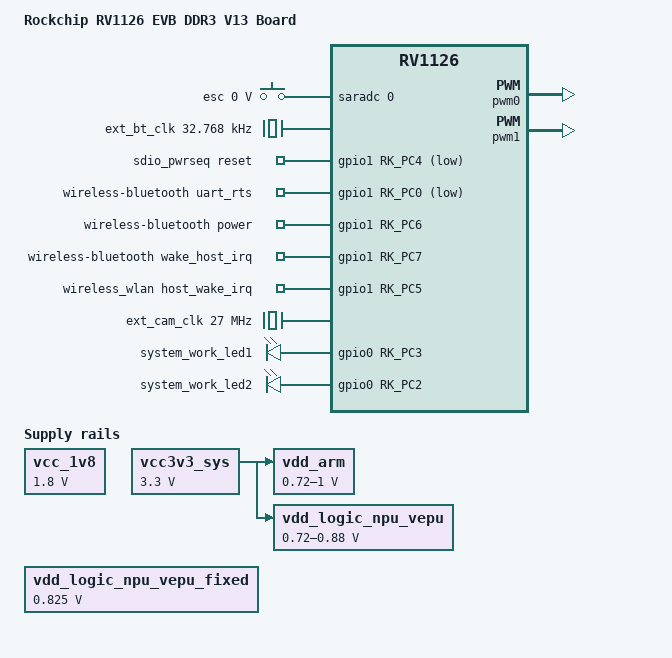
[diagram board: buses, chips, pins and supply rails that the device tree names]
// SPDX-License-Identifier: (GPL-2.0+ OR MIT)
/*
 * Copyright (c) 2020 Rockchip Electronics Co., Ltd.
 */
/dts-v1/;
#include "rv1126.dtsi"
#include "rv1126-ToyT-v13.dtsi"
/ {
	model = "Rockchip RV1126 EVB DDR3 V13 Board";
	compatible = "rockchip,rv1126-toybrick-ToyT01", "rockchip,rv1126";

	chosen {
		bootargs = "earlycon=uart8250,mmio32,0xff570000 console=ttyFIQ0 root=PARTUUID=614e0000-0000 rootfstype=ext4 rootwait snd_aloop.index=7";
	};
	
	vcc_1v8: vcc-1v8 {
		compatible = "regulator-fixed";
		regulator-name = "vcc_1v8";
		regulator-always-on;
		regulator-boot-on;
		regulator-min-microvolt = <1800000>;
		regulator-max-microvolt = <1800000>;
	};
	
	vcc3v3_sys: vcc33sys {
		compatible = "regulator-fixed";
		regulator-name = "vcc3v3_sys";
		regulator-always-on;
		regulator-boot-on;
		regulator-min-microvolt = <3300000>;
		regulator-max-microvolt = <3300000>;
	};

	vdd_arm: vdd-arm {
		compatible = "pwm-regulator";
		pwms = <&pwm0 0 5000 1>;
		regulator-name = "vdd_arm";
		regulator-min-microvolt = <720000>;
		regulator-max-microvolt = <1000000>;
		regulator-init-microvolt = <825000>;
		regulator-always-on;
		regulator-boot-on;
		regulator-settling-time-up-us = <250>;
		pwm-supply = <&vcc3v3_sys>;
		status = "okay";
	};

	/*
	 * pwm1 is reserved as voltage adjustment in hardware
	 * use fixed regulator to avoid voltage adjustment by software
	 */
	vdd_logic_npu_vepu: vdd-logic-npu-vepu {
		compatible = "pwm-regulator";
		pwms = <&pwm1 0 5000 1>;
		regulator-name = "vdd_logic_npu_vepu";
		regulator-min-microvolt = <720000>;
		regulator-max-microvolt = <880000>;
		regulator-init-microvolt = <825000>;
		regulator-always-on;
		regulator-boot-on;
		regulator-settling-time-up-us = <250>;
		pwm-supply = <&vcc3v3_sys>;
		status = "okay";
	};

	vdd_logic_npu_vepu_fixed: vdd-logic-npu-vepu-fixed {
		compatible = "regulator-fixed";
		regulator-name = "vdd_logic_npu_vepu-fixed";
		regulator-always-on;
		regulator-boot-on;
		regulator-min-microvolt = <825000>;
		regulator-max-microvolt = <825000>;
	};

	adc-keys {
		compatible = "adc-keys";
		io-channels = <&saradc 0>;
		io-channel-names = "buttons";
		poll-interval = <100>;
		keyup-threshold-microvolt = <1800000>;

		esc-key {
			label = "esc";
			linux,code = <KEY_ESC>;
			press-threshold-microvolt = <0>;
		};
	};
	
	ext_bt_clk: external-bluetooth-clock {
		compatible = "fixed-clock";
		clock-frequency = <32768>;
		clock-output-names = "CLK_BLUETOOLS_32KHZ";
		#clock-cells = <0>;
	};
	
	sdio_pwrseq: sdio-pwrseq {
		compatible = "mmc-pwrseq-simple";
		pinctrl-names = "default";
		pinctrl-0 = <&wifi_enable_h>;

		/*
		 * On the module itself this is one of these (depending
		 * on the actual card populated):
		 * - SDIO_RESET_L_WL_REG_ON
		 * - PDN (power down when low)
		 */
		reset-gpios = <&gpio1 RK_PC4 GPIO_ACTIVE_LOW>;//GPIO1_C4
	};
	
	wireless-bluetooth {
		compatible = "bluetooth-platdata";
		uart_rts_gpios = <&gpio1 RK_PC0 GPIO_ACTIVE_LOW>;
		pinctrl-names = "default", "rts_gpio";
		pinctrl-0 = <&uart0_rtsn>;
		pinctrl-1 = <&uart0_rtsn_gpio>;
		BT,power_gpio    = <&gpio1 RK_PC6 GPIO_ACTIVE_HIGH>;//GPIO1_C6
		BT,wake_host_irq = <&gpio1 RK_PC7 GPIO_ACTIVE_HIGH>;//GPIO1_C7
		status = "okay";
	};

	wireless_wlan: wireless-wlan {
		compatible = "wlan-platdata";
		rockchip,grf = <&grf>;
		clocks = <&ext_bt_clk>;
		clock-names = "clk_wifi";
		pinctrl-names = "default";
		pinctrl-0 = <&wifi_wake_host>;
		wifi_chip_type = "ap6256";
		/* WIFI,poweren_gpio = <&gpio0 RK_PA6 GPIO_ACTIVE_HIGH>; */
		WIFI,host_wake_irq = <&gpio1 RK_PC5 GPIO_ACTIVE_HIGH>;//GPIO1_C5
		status = "okay";
	};
	
	ext_cam_clk: external-camera-clock {
		status = "okay";
		compatible = "fixed-clock";
		clock-frequency = <27000000>;
		clock-output-names = "CLK_CAMERA_27MHZ";
		#clock-cells = <0>;
	};

	leds {
		compatible = "gpio-leds";
		pinctrl-names = "default";
		pinctrl-0 = <&work_led>;
		/**
		 *led state:
		 * bule:  system_work_led1
		 * red:   system_work_led2
		 * green: system_work_led3
		 */
		led@1 {
			gpios = <&gpio0 RK_PC3 GPIO_ACTIVE_HIGH>;
			label = "system_work_led1";  // Blue led
			default-state = "on";
			linux,default-trigger = "default-on";
		};

		led@2 {
			gpios = <&gpio0 RK_PC2 GPIO_ACTIVE_HIGH>;
			label = "system_work_led2";  // Red led
			default-state = "on";
			linux,default-trigger = "default-on";
		};
	};

};

&cpu0_opp_table {
	opp-408000000 {
		status = "disabled";
	};
	opp-600000000 {
		status = "disabled";
	};
	opp-816000000 {
		status = "disabled";
	};
	opp-1008000000 {
		status = "disabled";
	};
	opp-1200000000 {
		status = "disabled";
	};
	opp-1296000000 {
		status = "disabled";
	};
	opp-1416000000 {
		status = "okay";
	};
	opp-1512000000 {
		status = "disabled";
	};
};

/**
 * Model: TB-ToyT01
 * ----------------------------------------------------------------
 * supply         |  domain  |  net         | source  |  voltage  |
 *-----------------------------------------------------------------
 * pmuio0-supply  |  PMUIO0  |  VCC_3V3     | VCC_5V  |  3.3V     |
 * pmuio1-supply  |  PMUIO1  |  VCC_3V3     | VCC_5V  |  3.3V     |
 * vccio1-supply  |  VCCIO1  |  VCC_1V8     | VCC_5V  |  1.8V     |
 * vccio2-supply  |  VCCIO2  |  VCC_3V3     | VCC_5V  |  3.3V     |
 * vccio3-supply  |  VCCIO3  |  VCC_1V8     | VCC_5V  |  1.8V     |
 * vccio4-supply  |  VCCIO4  |  VCC_1V8     | VCC_5V  |  1.8V     |
 * vccio5-supply  |  VCCIO5  |  VCC_3V3     | VCC_5V  |  3.3V     |
 * vccio6-supply  |  VCCIO6  |  VCC_3V3     | VCC_5V  |  3.3V     |
 * vccio7-supply  |  VCCIO7  |  VCC_3V3     | VCC_5V  |  3.3V     |
 * ---------------------------------------------------------------
*/
&pmu_io_domains {
	status = "okay";

	pmuio0-supply = <&vcc3v3_sys>;
	pmuio1-supply = <&vcc3v3_sys>;
	vccio1-supply = <&vcc_1v8>;
	vccio2-supply = <&vcc3v3_sys>;
	vccio3-supply = <&vcc_1v8>;//wifi
	vccio4-supply = <&vcc_1v8>;//spi
	vccio5-supply = <&vcc3v3_sys>;
	vccio6-supply = <&vcc3v3_sys>;
	vccio7-supply = <&vcc3v3_sys>;
};

&pwm0 {
	status = "okay";
};

&pwm1 {
	status = "okay";
};

&pinctrl {
	sdio-pwrseq {
		/omit-if-no-ref/
		wifi_enable_h: wifi-enable-h {
			rockchip,pins = <1 RK_PC4 RK_FUNC_GPIO &pcfg_pull_up>;
		};
	};

	wireless-wlan {
		/omit-if-no-ref/
		wifi_wake_host: wifi-wake-host {
			rockchip,pins = <1 RK_PC5 RK_FUNC_GPIO &pcfg_pull_up>;
		};
	};

	leds {

		work_led: work-led {
			rockchip,pins =
				<0 RK_PC3 RK_FUNC_GPIO &pcfg_pull_none>,
				<0 RK_PC2 RK_FUNC_GPIO &pcfg_pull_none>;
		};
	};

};

&rkcif_mipi_lvds_sditf {
	status = "disabled";
};

&rkisp {
	status = "disabled";
};

&rkisp_vir0 {
	status = "disabled";
};

&rkisp_mmu {
	status = "disabled";
};

&rkispp {
	status = "disabled";
};

&rkispp_vir0 {
	status = "disabled";
};

&rkispp_mmu {
	status = "disabled";
};

&reserved_memory  {
	linux,cma {
		size = <0x8000000>;
	};
};
